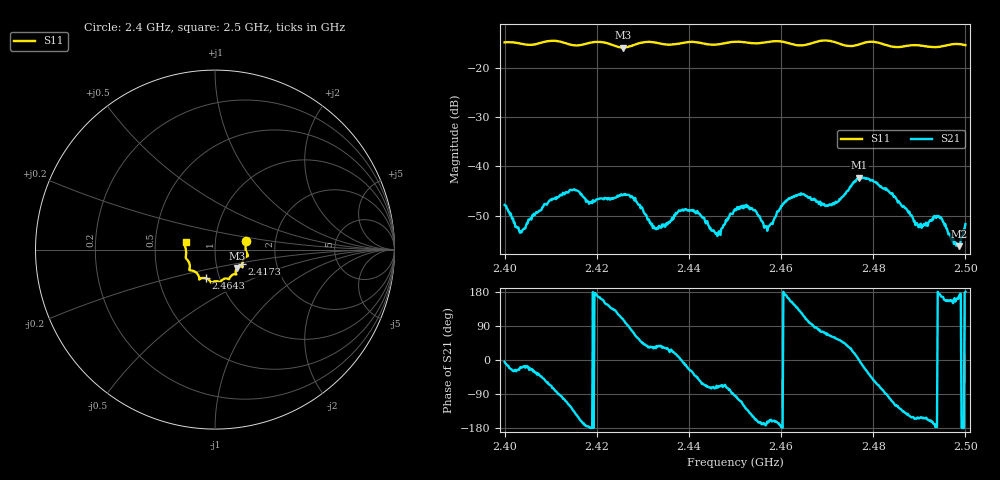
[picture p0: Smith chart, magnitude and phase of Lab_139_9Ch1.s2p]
# Hz S RI R 50
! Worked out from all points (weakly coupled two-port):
!   601 points, 2.4 GHz to 2.5 GHz, reference 50 ohm
!   highest |S21| = -42.29 dB at 2.477 GHz (marker M1); lowest = -56.2 dB at 2.4987 GHz (marker M2)
!   lowest |S11| = -15.9 dB at 2.4257 GHz (marker M3), VSWR 1.38, Z = 62.4 - j13.1 ohm
!   |S11| at or under -10 dB: start of sweep to end of sweep
!   S12 and S22 are empty: the file has one direction only
!   S11 on the Smith chart (normalised r, x): 2.4 GHz: 1.41, +0.14; 2.4173 GHz: 1.34, -0.23; 2.4643 GHz: 0.86, -0.28; 2.5 GHz: 0.72, +0.06
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2.4e9  0.1735 0.0494  0.00405 -0.00035  0 0  0 0
2.403667e9  0.172 0.0285  0.00201 -0.000742  0 0  0 0
2.410167e9  0.1841 -0.0329  0.00165 -0.00424  0 0  0 0
2.416667e9  0.1525 -0.075  -0.00499 -0.00166  0 0  0 0
2.417333e9  0.152 -0.0822  -0.00475 -0.00069  0 0  0 0
2.425667e9  0.1226 -0.1024  -0.00161 0.00485  0 0  0 0
2.433333e9  0.1127 -0.1366  0.00187 0.00142  0 0  0 0
2.439667e9  0.0801 -0.1621  0.00335 -0.00123  0 0  0 0
2.446333e9  0.0448 -0.1662  0.000642 -0.00197  0 0  0 0
2.45e9  0.0295 -0.1806  -0.000251 -0.00368  0 0  0 0
2.453833e9  0.0115 -0.1764  -0.00315 -0.00186  0 0  0 0
2.456833e9  -0.0128 -0.1806  -0.00243 -0.000483  0 0  0 0
2.461e9  -0.0259 -0.1783  -0.00432 0.000607  0 0  0 0
2.464333e9  -0.0502 -0.1601  -0.00306 0.00437  0 0  0 0
2.466667e9  -0.0761 -0.1596  -0.000355 0.00465  0 0  0 0
2.471167e9  -0.0868 -0.1623  0.00203 0.00366  0 0  0 0
2.477e9  -0.127 -0.1167  0.00768 -0.000162  0 0  0 0
2.483333e9  -0.1404 -0.0894  -0.000707 -0.0056  0 0  0 0
2.4895e9  -0.1629 -0.0442  -0.00237 -0.00121  0 0  0 0
2.494333e9  -0.1625 0.00267  -0.00308 0.000296  0 0  0 0
2.498667e9  -0.1696 0.0346  -0.00153 0.000282  0 0  0 0
2.5e9  -0.1638 0.042  -0.0026 1.35e-05  0 0  0 0
